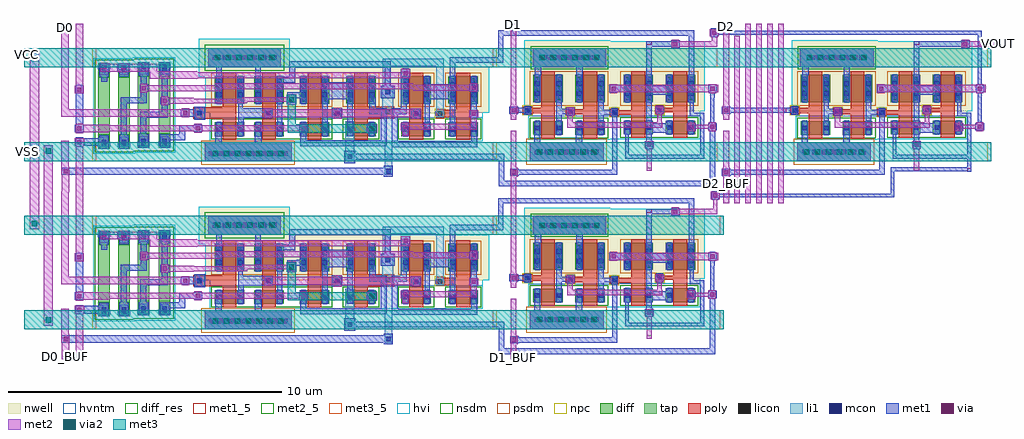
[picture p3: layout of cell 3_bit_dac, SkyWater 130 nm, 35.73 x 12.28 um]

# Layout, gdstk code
import gdstk
lib = gdstk.Library(unit=1e-6, precision=1e-09)
def R(c, l, rs):  # rectangles x0, y0, x1, y1
    for r in rs: c.add(gdstk.rectangle(r[:2], r[2:], *l))
def A(c, l, x, y, w, h, nx, ny, dx, dy):  # array of equal rectangles
    R(c, l, [(x+i*dx, y+j*dy, x+i*dx+w, y+j*dy+h) for i in range(nx) for j in range(ny)])
nwell = (64, 20)
diff_res = (65, 13)
diff = (65, 20)
tap = (65, 44)
poly = (66, 20)
licon = (66, 44)
li1 = (67, 20)
mcon = (67, 44)
met1_5 = (68, 5)
met1 = (68, 20)
via = (68, 44)
met2_5 = (69, 5)
met2 = (69, 20)
via2 = (69, 44)
met3_5 = (70, 5)
met3 = (70, 20)
hvi = (75, 20)
nsdm = (93, 44)
psdm = (94, 20)
npc = (95, 20)
hvntm = (125, 20)

switch_n_3v3 = lib.new_cell('switch_n_3v3')
R(switch_n_3v3, nwell, [(-31.91,-1.58,-25.31,0.98), (-31.91,0.98,-28.77,1.02)])
R(switch_n_3v3, diff, [(-31.58,-2.44,-30.5,-1.94), (-30.04,-2.44,-28.96,-1.94), (-28.28,-2.43,-27.2,-1.93), (-26.74,-2.43,-25.66,-1.93), (-31.58,-1.25,-30.5,-0.25), (-30.04,-1.25,-28.96,-0.25), (-28.28,-1.25,-27.2,-0.25), (-26.74,-1.25,-25.66,-0.25)])
R(switch_n_3v3, tap, [(-31.71,-3.42,-29.01,-2.72), (-31.56,0.08,-28.96,0.68)])
R(switch_n_3v3, poly, [(-31.29,-2.57,-30.79,-1.65), (-29.75,-2.57,-29.25,-1.695), (-27.99,-2.56,-27.49,-1.715), (-26.45,-2.56,-25.95,-1.615), (-28.78,-1.76,-28.45,-1.715), (-30.39,-1.73,-30.06,-1.695), (-28.78,-1.715,-27.49,-1.54), (-27.095,-1.7,-26.825,-1.615), (-30.39,-1.695,-29.25,-1.5), (-31.96,-1.685,-31.63,-1.65), (-31.96,-1.65,-30.79,-1.455), (-27.095,-1.615,-25.95,-1.46), (-28.78,-1.54,-28.45,-1.49), (-27.99,-1.54,-27.49,-0.12), (-30.39,-1.5,-30.06,-1.46), (-29.75,-1.5,-29.25,-0.12), (-27.095,-1.46,-26.825,-1.37), (-26.45,-1.46,-25.95,-0.12), (-31.96,-1.455,-31.63,-1.415), (-31.29,-1.455,-30.79,-0.12)])
A(switch_n_3v3, licon, -31.465, -3.155, 0.17, 0.17, 7, 1, 0.34, 0)
A(switch_n_3v3, licon, -31.52, -1.175, 0.17, 0.17, 1, 3, 0, 0.34)
A(switch_n_3v3, licon, -30.73, -1.175, 0.17, 0.17, 1, 3, 0, 0.34)
A(switch_n_3v3, licon, -29.98, -1.175, 0.17, 0.17, 1, 3, 0, 0.34)
A(switch_n_3v3, licon, -29.19, -1.175, 0.17, 0.17, 1, 3, 0, 0.34)
A(switch_n_3v3, licon, -28.22, -1.175, 0.17, 0.17, 1, 3, 0, 0.34)
A(switch_n_3v3, licon, -27.43, -1.175, 0.17, 0.17, 1, 3, 0, 0.34)
A(switch_n_3v3, licon, -26.68, -1.175, 0.17, 0.17, 1, 3, 0, 0.34)
A(switch_n_3v3, licon, -25.89, -1.175, 0.17, 0.17, 1, 3, 0, 0.34)
A(switch_n_3v3, licon, -31.365, 0.295, 0.17, 0.17, 7, 1, 0.34, 0)
R(switch_n_3v3, licon, [(-31.52,-2.275,-31.35,-2.105), (-30.73,-2.275,-30.56,-2.105), (-29.98,-2.275,-29.81,-2.105), (-29.19,-2.275,-29.02,-2.105), (-28.22,-2.265,-28.05,-2.095), (-27.43,-2.265,-27.26,-2.095), (-26.68,-2.265,-26.51,-2.095), (-25.89,-2.265,-25.72,-2.095), (-28.7,-1.71,-28.53,-1.54), (-30.31,-1.68,-30.14,-1.51), (-31.88,-1.635,-31.71,-1.465), (-27.045,-1.62,-26.875,-1.45)])
R(switch_n_3v3, li1, [(-31.71,-3.42,-29.01,-2.72), (-31.52,-2.46,-31.35,-1.92), (-30.73,-2.46,-30.56,-1.92), (-29.98,-2.46,-29.81,-1.92), (-29.19,-2.46,-29.02,-1.92), (-28.22,-2.45,-28.05,-1.91), (-27.43,-2.45,-27.26,-1.91), (-26.68,-2.45,-26.51,-1.91), (-25.89,-2.45,-25.72,-1.91), (-28.7,-1.79,-28.53,-1.71), (-30.31,-1.76,-30.14,-1.69), (-31.88,-1.715,-31.71,-1.645), (-28.7,-1.71,-28.525,-1.535), (-30.32,-1.69,-30.125,-1.495), (-31.89,-1.645,-31.695,-1.45), (-27.125,-1.62,-26.795,-1.45), (-28.7,-1.535,-28.53,-1.46), (-30.31,-1.495,-30.14,-1.43), (-31.88,-1.45,-31.71,-1.385), (-31.52,-1.27,-31.35,-0.23), (-30.73,-1.27,-30.56,-0.23), (-29.98,-1.27,-29.81,-0.23), (-29.19,-1.27,-29.02,-0.23), (-28.22,-1.27,-28.05,-0.23), (-27.43,-1.27,-27.26,-0.23), (-26.68,-1.27,-26.51,-0.23), (-25.89,-1.27,-25.72,-0.23), (-31.61,0.03,-28.91,0.73)])
A(switch_n_3v3, mcon, -31.525, -3.155, 0.17, 0.17, 7, 1, 0.36, 0)
A(switch_n_3v3, mcon, -31.245, 0.295, 0.17, 0.17, 6, 1, 0.36, 0)
R(switch_n_3v3, mcon, [(-31.52,-2.275,-31.35,-2.105), (-30.73,-2.275,-30.56,-2.105), (-29.98,-2.275,-29.81,-2.105), (-29.19,-2.275,-29.02,-2.105), (-28.22,-2.265,-28.05,-2.095), (-27.43,-2.265,-27.26,-2.095), (-26.68,-2.265,-26.51,-2.095), (-25.89,-2.265,-25.72,-2.095), (-28.7,-1.71,-28.53,-1.54), (-30.31,-1.68,-30.14,-1.51), (-31.88,-1.635,-31.71,-1.465), (-27.045,-1.62,-26.875,-1.45), (-31.52,-1.015,-31.35,-0.845), (-30.73,-1.015,-30.56,-0.845), (-29.98,-1.015,-29.81,-0.845), (-29.19,-1.015,-29.02,-0.845), (-28.22,-1.015,-28.05,-0.845), (-27.43,-1.015,-27.26,-0.845), (-26.68,-1.015,-26.51,-0.845), (-25.89,-1.015,-25.72,-0.845), (-31.52,-0.655,-31.35,-0.485), (-30.73,-0.655,-30.56,-0.485), (-29.98,-0.655,-29.81,-0.485), (-29.19,-0.655,-29.02,-0.485), (-28.22,-0.655,-28.05,-0.485), (-27.43,-0.655,-27.26,-0.485), (-26.68,-0.655,-26.51,-0.485), (-25.89,-0.655,-25.72,-0.485)])
R(switch_n_3v3, met1_5, [(-32.355,-3.915,-32.215,-3.72), (-25.48,-3.79,-25.34,-3.67), (-32.21,-1.645,-32.11,-1.45), (-25.095,0.83,-24.945,0.93), (-27.44,0.85,-27.245,0.975)])
R(switch_n_3v3, met1, [(-32.355,-3.915,-28.505,-3.72), (-25.48,-3.79,-25.34,-3.32), (-28.7,-3.72,-28.505,-1.77), (-31.71,-3.42,-29.01,-2.72), (-28.22,-3.32,-25.34,-3.18), (-28.22,-3.18,-28.08,-2.43), (-25.48,-3.18,-25.34,-1.77), (-27.47,-2.975,-27.21,-2.655), (-31.55,-2.72,-31.33,-2.44), (-30.02,-2.72,-29.785,-2.44), (-27.44,-2.655,-27.245,-2.43), (-31.55,-2.44,-31.32,-1.94), (-30.76,-2.44,-30.53,-1.94), (-30.02,-2.44,-29.78,-2.25), (-29.22,-2.44,-28.99,-1.94), (-28.25,-2.43,-28.02,-1.93), (-27.46,-2.43,-27.23,-2.36), (-26.71,-2.43,-26.48,-2.36), (-25.92,-2.43,-25.69,-2.29), (-27.46,-2.36,-26.48,-2.03), (-25.95,-2.29,-25.63,-2.03), (-25.185,-2.28,-24.865,-2.02), (-30.01,-2.25,-29.78,-1.94), (-27.46,-2.03,-27.23,-1.93), (-26.71,-2.03,-26.48,-1.93), (-25.92,-2.03,-25.69,-1.93), (-25.1,-2.02,-24.95,-1.095), (-30.745,-1.94,-30.55,-1.69), (-29.2,-1.94,-29.005,-1.705), (-27.44,-1.93,-27.245,-1.25), (-28.73,-1.77,-28.495,-1.705), (-25.855,-1.77,-25.34,-1.63), (-30.35,-1.75,-30.095,-1.72), (-30.38,-1.72,-30.06,-1.69), (-31.92,-1.705,-31.665,-1.645), (-29.2,-1.705,-28.495,-1.53), (-27.09,-1.695,-26.83,-1.65), (-30.745,-1.69,-30.06,-1.495), (-27.105,-1.65,-26.815,-1.42), (-32.21,-1.645,-31.665,-1.45), (-25.855,-1.63,-25.71,-1.25), (-29.2,-1.53,-29.005,-1.25), (-28.73,-1.53,-28.495,-1.475), (-30.745,-1.495,-30.55,-1.25), (-30.38,-1.495,-30.06,-1.46), (-30.35,-1.46,-30.095,-1.435), (-31.92,-1.45,-31.665,-1.39), (-27.09,-1.42,-26.83,-1.375), (-31.55,-1.25,-31.32,-0.255), (-30.76,-1.25,-30.53,-0.25), (-30.01,-1.25,-29.78,0.03), (-29.22,-1.25,-28.99,-0.25), (-28.25,-1.25,-28.02,-0.89), (-27.46,-1.25,-27.23,-0.98), (-26.71,-1.25,-26.48,-0.98), (-25.92,-1.25,-25.69,-0.25), (-25.1,-1.095,-24.945,-0.89), (-27.46,-0.98,-26.48,-0.65), (-28.805,-0.89,-28.02,-0.615), (-25.18,-0.89,-24.86,-0.63), (-27.46,-0.65,-27.23,-0.25), (-26.71,-0.65,-26.48,-0.25), (-25.095,-0.63,-24.945,0.955), (-28.25,-0.615,-28.02,-0.25), (-31.55,-0.255,-31.295,-0.25), (-31.525,-0.25,-31.295,0.03), (-27.44,-0.25,-27.245,0.975), (-31.61,0.03,-28.91,0.73)])
A(switch_n_3v3, via, -31.395, -3.145, 0.15, 0.15, 7, 1, 0.32, 0)
A(switch_n_3v3, via, -31.295, 0.305, 0.15, 0.15, 7, 1, 0.32, 0)
R(switch_n_3v3, via, [(-27.415,-2.89,-27.265,-2.74), (-25.865,-2.235,-25.715,-2.085), (-25.1,-2.225,-24.95,-2.075), (-30.295,-1.665,-30.145,-1.515), (-27.035,-1.61,-26.885,-1.46), (-25.095,-0.835,-24.945,-0.685), (-28.715,-0.83,-28.565,-0.68)])
R(switch_n_3v3, met2_5, [(-27.435,-3.765,-27.24,-3.645)])
A(switch_n_3v3, met2, -34.41, -4.955, 0.205, 2.655, 6, 1, 0.4, 0)
A(switch_n_3v3, met2, -34.41, -1.9, 0.205, 3.085, 6, 1, 0.4, 0)
R(switch_n_3v3, met2, [(-27.435,-3.765,-27.24,-2.945), (-31.71,-3.42,-29.01,-2.72), (-27.5,-2.945,-27.18,-2.685), (-25.92,-2.32,-25.66,-2.23), (-25.155,-2.31,-24.895,-2.23), (-25.92,-2.23,-24.895,-2.085), (-30.335,-2.18,-26.865,-1.985), (-25.92,-2.085,-25.66,-2), (-25.155,-2.085,-24.895,-1.99), (-30.335,-1.985,-30.14,-1.75), (-27.045,-1.985,-26.875,-1.665), (-30.35,-1.75,-30.09,-1.705), (-30.355,-1.705,-30.09,-1.49), (-27.12,-1.665,-26.8,-1.405), (-30.35,-1.49,-30.09,-1.43), (-28.775,-0.92,-28.5,-0.89), (-25.15,-0.92,-24.89,-0.89), (-28.775,-0.89,-24.81,-0.615), (-28.775,-0.615,-28.5,-0.585), (-25.15,-0.615,-24.89,-0.6), (-31.61,0.03,-28.91,0.73)])
A(switch_n_3v3, via2, -31.46, -3.17, 0.2, 0.2, 6, 1, 0.4, 0)
A(switch_n_3v3, via2, -31.36, 0.28, 0.2, 0.2, 6, 1, 0.4, 0)
R(switch_n_3v3, met3_5, [(-34.66,-3.42,-34.51,-2.72), (-24.76,-3.42,-24.61,-2.72), (-34.66,0.03,-34.51,0.73), (-24.76,0.03,-24.61,0.73)])
R(switch_n_3v3, met3, [(-34.66,-3.42,-24.61,-2.72), (-34.66,0.03,-24.61,0.73)])
R(switch_n_3v3, hvi, [(-31.765,-2.625,-28.775,-2.615), (-31.765,-2.615,-25.475,-1.58), (-31.91,-1.58,-25.31,0.98), (-31.91,0.98,-28.77,1.02)])
R(switch_n_3v3, nsdm, [(-31.705,-2.565,-28.835,-1.815), (-28.405,-2.555,-25.535,-1.805), (-31.685,-0.045,-28.835,0.805)])
R(switch_n_3v3, psdm, [(-31.835,-3.545,-28.885,-2.595), (-31.705,-1.375,-28.835,-0.125), (-28.405,-1.375,-25.535,-0.125)])
R(switch_n_3v3, npc, [(-28.8,-1.81,-28.43,-1.44), (-30.41,-1.78,-30.04,-1.41), (-31.98,-1.735,-31.61,-1.365), (-27.145,-1.72,-26.775,-1.35)])
R(switch_n_3v3, hvntm, [(-31.765,-2.625,-28.775,-2.615), (-31.765,-2.615,-25.475,-1.755), (-28.465,-1.755,-25.475,-1.745)])
switch_n_3v3.add(gdstk.Label('DX', (-32.16,-1.547), layer=68, texttype=5))
switch_n_3v3.add(gdstk.Label('DX_BUF', (-32.285,-3.817), layer=68, texttype=5))
switch_n_3v3.add(gdstk.Label('VCC', (-24.685,0.38), layer=70, texttype=5))
switch_n_3v3.add(gdstk.Label('VSS', (-24.685,-3.07), layer=70, texttype=5))
switch_n_3v3.add(gdstk.Label('VSS', (-34.585,-3.07), layer=70, texttype=5))
switch_n_3v3.add(gdstk.Label('VCC', (-34.585,0.38), layer=70, texttype=5))
switch_n_3v3.add(gdstk.Label('D2', (-34.31,1.11), layer=69, texttype=5))
switch_n_3v3.add(gdstk.Label('D3', (-33.91,1.13), layer=69, texttype=5))
switch_n_3v3.add(gdstk.Label('D4', (-33.5,1.13), layer=69, texttype=5))
switch_n_3v3.add(gdstk.Label('D5', (-33.1,1.14), layer=69, texttype=5))
switch_n_3v3.add(gdstk.Label('D6', (-32.71,1.14), layer=69, texttype=5))
switch_n_3v3.add(gdstk.Label('D7', (-32.31,1.13), layer=69, texttype=5))
switch_n_3v3.add(gdstk.Label('VOUT', (-27.342,0.912), layer=68, texttype=5))
switch_n_3v3.add(gdstk.Label('VOUT', (-27.337,-3.705), layer=69, texttype=5))
switch_n_3v3.add(gdstk.Label('DX_', (-30.66,-1.77), layer=68, texttype=5))
switch_n_3v3.add(gdstk.Label('VREFH', (-25.41,-3.73), layer=68, texttype=5))
switch_n_3v3.add(gdstk.Label('VREFL', (-25.02,0.88), layer=68, texttype=5))

switch_n_3v3_v2 = lib.new_cell('switch_n_3v3_v2')
R(switch_n_3v3_v2, nwell, [(-31.91,-1.58,-25.31,0.98), (-31.91,0.98,-28.77,1.02)])
R(switch_n_3v3_v2, diff, [(-31.58,-2.44,-30.5,-1.94), (-30.04,-2.44,-28.96,-1.94), (-28.28,-2.43,-27.2,-1.93), (-26.74,-2.43,-25.66,-1.93), (-31.58,-1.25,-30.5,-0.25), (-30.04,-1.25,-28.96,-0.25), (-28.28,-1.25,-27.2,-0.25), (-26.74,-1.25,-25.66,-0.25)])
R(switch_n_3v3_v2, tap, [(-31.71,-3.42,-29.01,-2.72), (-31.56,0.08,-28.96,0.68)])
R(switch_n_3v3_v2, poly, [(-31.29,-2.57,-30.79,-1.65), (-29.75,-2.57,-29.25,-1.695), (-27.99,-2.56,-27.49,-1.715), (-26.45,-2.56,-25.95,-1.615), (-28.78,-1.76,-28.45,-1.715), (-30.39,-1.73,-30.06,-1.695), (-28.78,-1.715,-27.49,-1.54), (-27.095,-1.7,-26.825,-1.615), (-30.39,-1.695,-29.25,-1.5), (-31.96,-1.685,-31.63,-1.65), (-31.96,-1.65,-30.79,-1.455), (-27.095,-1.615,-25.95,-1.46), (-28.78,-1.54,-28.45,-1.49), (-27.99,-1.54,-27.49,-0.12), (-30.39,-1.5,-30.06,-1.46), (-29.75,-1.5,-29.25,-0.12), (-27.095,-1.46,-26.825,-1.37), (-26.45,-1.46,-25.95,-0.12), (-31.96,-1.455,-31.63,-1.415), (-31.29,-1.455,-30.79,-0.12)])
A(switch_n_3v3_v2, licon, -31.465, -3.155, 0.17, 0.17, 7, 1, 0.34, 0)
A(switch_n_3v3_v2, licon, -31.52, -1.175, 0.17, 0.17, 1, 3, 0, 0.34)
A(switch_n_3v3_v2, licon, -30.73, -1.175, 0.17, 0.17, 1, 3, 0, 0.34)
A(switch_n_3v3_v2, licon, -29.98, -1.175, 0.17, 0.17, 1, 3, 0, 0.34)
A(switch_n_3v3_v2, licon, -29.19, -1.175, 0.17, 0.17, 1, 3, 0, 0.34)
A(switch_n_3v3_v2, licon, -28.22, -1.175, 0.17, 0.17, 1, 3, 0, 0.34)
A(switch_n_3v3_v2, licon, -27.43, -1.175, 0.17, 0.17, 1, 3, 0, 0.34)
A(switch_n_3v3_v2, licon, -26.68, -1.175, 0.17, 0.17, 1, 3, 0, 0.34)
A(switch_n_3v3_v2, licon, -25.89, -1.175, 0.17, 0.17, 1, 3, 0, 0.34)
A(switch_n_3v3_v2, licon, -31.365, 0.295, 0.17, 0.17, 7, 1, 0.34, 0)
R(switch_n_3v3_v2, licon, [(-31.52,-2.275,-31.35,-2.105), (-30.73,-2.275,-30.56,-2.105), (-29.98,-2.275,-29.81,-2.105), (-29.19,-2.275,-29.02,-2.105), (-28.22,-2.265,-28.05,-2.095), (-27.43,-2.265,-27.26,-2.095), (-26.68,-2.265,-26.51,-2.095), (-25.89,-2.265,-25.72,-2.095), (-28.7,-1.71,-28.53,-1.54), (-30.31,-1.68,-30.14,-1.51), (-31.88,-1.635,-31.71,-1.465), (-27.045,-1.62,-26.875,-1.45)])
R(switch_n_3v3_v2, li1, [(-31.71,-3.42,-29.01,-2.72), (-31.52,-2.46,-31.35,-1.92), (-30.73,-2.46,-30.56,-1.92), (-29.98,-2.46,-29.81,-1.92), (-29.19,-2.46,-29.02,-1.92), (-28.22,-2.45,-28.05,-1.91), (-27.43,-2.45,-27.26,-1.91), (-26.68,-2.45,-26.51,-1.91), (-25.89,-2.45,-25.72,-1.91), (-28.7,-1.79,-28.53,-1.71), (-30.31,-1.76,-30.14,-1.69), (-31.88,-1.715,-31.71,-1.645), (-28.7,-1.71,-28.525,-1.535), (-30.32,-1.69,-30.125,-1.495), (-31.89,-1.645,-31.695,-1.45), (-27.125,-1.62,-26.795,-1.45), (-28.7,-1.535,-28.53,-1.46), (-30.31,-1.495,-30.14,-1.43), (-31.88,-1.45,-31.71,-1.385), (-31.52,-1.27,-31.35,-0.23), (-30.73,-1.27,-30.56,-0.23), (-29.98,-1.27,-29.81,-0.23), (-29.19,-1.27,-29.02,-0.23), (-28.22,-1.27,-28.05,-0.23), (-27.43,-1.27,-27.26,-0.23), (-26.68,-1.27,-26.51,-0.23), (-25.89,-1.27,-25.72,-0.23), (-31.61,0.03,-28.91,0.73)])
A(switch_n_3v3_v2, mcon, -31.525, -3.155, 0.17, 0.17, 7, 1, 0.36, 0)
A(switch_n_3v3_v2, mcon, -31.245, 0.295, 0.17, 0.17, 6, 1, 0.36, 0)
R(switch_n_3v3_v2, mcon, [(-31.52,-2.275,-31.35,-2.105), (-30.73,-2.275,-30.56,-2.105), (-29.98,-2.275,-29.81,-2.105), (-29.19,-2.275,-29.02,-2.105), (-28.22,-2.265,-28.05,-2.095), (-27.43,-2.265,-27.26,-2.095), (-26.68,-2.265,-26.51,-2.095), (-25.89,-2.265,-25.72,-2.095), (-28.7,-1.71,-28.53,-1.54), (-30.31,-1.68,-30.14,-1.51), (-31.88,-1.635,-31.71,-1.465), (-27.045,-1.62,-26.875,-1.45), (-31.52,-1.015,-31.35,-0.845), (-30.73,-1.015,-30.56,-0.845), (-29.98,-1.015,-29.81,-0.845), (-29.19,-1.015,-29.02,-0.845), (-28.22,-1.015,-28.05,-0.845), (-27.43,-1.015,-27.26,-0.845), (-26.68,-1.015,-26.51,-0.845), (-25.89,-1.015,-25.72,-0.845), (-31.52,-0.655,-31.35,-0.485), (-30.73,-0.655,-30.56,-0.485), (-29.98,-0.655,-29.81,-0.485), (-29.19,-0.655,-29.02,-0.485), (-28.22,-0.655,-28.05,-0.485), (-27.43,-0.655,-27.26,-0.485), (-26.68,-0.655,-26.51,-0.485), (-25.89,-0.655,-25.72,-0.485)])
R(switch_n_3v3_v2, met1_5, [(-32.355,-3.915,-32.215,-3.72), (-32.21,-1.645,-32.11,-1.45), (-27.44,0.85,-27.245,0.975)])
R(switch_n_3v3_v2, met1, [(-32.435,-3.945,-32.115,-3.915), (-32.435,-3.915,-28.505,-3.72), (-25.1,-3.875,-24.95,-2.28), (-32.435,-3.72,-32.115,-3.685), (-28.7,-3.72,-28.505,-1.77), (-31.71,-3.42,-29.01,-2.72), (-28.22,-3.32,-25.33,-3.18), (-28.22,-3.18,-28.08,-2.43), (-25.47,-3.18,-25.33,-1.77), (-27.47,-2.975,-27.21,-2.655), (-31.55,-2.72,-31.33,-2.44), (-30.02,-2.72,-29.785,-2.44), (-27.44,-2.655,-27.245,-2.43), (-31.55,-2.44,-31.32,-1.94), (-30.76,-2.44,-30.53,-1.94), (-30.02,-2.44,-29.78,-2.25), (-29.22,-2.44,-28.99,-1.94), (-28.25,-2.43,-28.02,-1.93), (-27.46,-2.43,-27.23,-2.36), (-26.71,-2.43,-26.48,-2.36), (-25.92,-2.43,-25.69,-2.29), (-27.46,-2.36,-26.48,-2.03), (-25.95,-2.29,-25.63,-2.03), (-25.185,-2.28,-24.865,-2.02), (-30.01,-2.25,-29.78,-1.94), (-27.46,-2.03,-27.23,-1.93), (-26.71,-2.03,-26.48,-1.93), (-25.92,-2.03,-25.69,-1.93), (-25.1,-2.02,-24.95,-1.095), (-30.745,-1.94,-30.55,-1.69), (-29.2,-1.94,-29.005,-1.705), (-27.44,-1.93,-27.245,-1.25), (-28.73,-1.77,-28.495,-1.705), (-25.855,-1.77,-25.33,-1.63), (-30.35,-1.75,-30.095,-1.72), (-30.38,-1.72,-30.06,-1.69), (-31.92,-1.705,-31.665,-1.645), (-29.2,-1.705,-28.495,-1.53), (-27.09,-1.695,-26.83,-1.65), (-30.745,-1.69,-30.06,-1.495), (-32.455,-1.675,-32.135,-1.645), (-27.105,-1.65,-26.815,-1.42), (-32.455,-1.645,-31.665,-1.45), (-25.855,-1.63,-25.71,-1.25), (-29.2,-1.53,-29.005,-1.25), (-28.73,-1.53,-28.495,-1.475), (-30.745,-1.495,-30.55,-1.25), (-30.38,-1.495,-30.06,-1.46), (-30.35,-1.46,-30.095,-1.435), (-32.455,-1.45,-32.135,-1.415), (-31.92,-1.45,-31.665,-1.39), (-27.09,-1.42,-26.83,-1.375), (-31.55,-1.25,-31.32,-0.255), (-30.76,-1.25,-30.53,-0.25), (-30.01,-1.25,-29.78,0.03), (-29.22,-1.25,-28.99,-0.25), (-28.25,-1.25,-28.02,-0.89), (-27.46,-1.25,-27.23,-0.98), (-26.71,-1.25,-26.48,-0.98), (-25.92,-1.25,-25.69,-0.25), (-25.1,-1.095,-24.945,-0.89), (-27.46,-0.98,-26.48,-0.65), (-28.805,-0.89,-28.02,-0.615), (-25.18,-0.89,-24.86,-0.63), (-27.46,-0.65,-27.23,-0.25), (-26.71,-0.65,-26.48,-0.25), (-25.095,-0.63,-24.945,-0.585), (-28.25,-0.615,-28.02,-0.25), (-31.55,-0.255,-31.295,-0.25), (-31.525,-0.25,-31.295,0.03), (-27.44,-0.25,-27.245,0.975), (-25.855,-0.25,-25.71,1.035), (-31.61,0.03,-28.91,0.73)])
A(switch_n_3v3_v2, via, -31.395, -3.145, 0.15, 0.15, 7, 1, 0.32, 0)
A(switch_n_3v3_v2, via, -31.295, 0.305, 0.15, 0.15, 7, 1, 0.32, 0)
R(switch_n_3v3_v2, via, [(-32.35,-3.89,-32.2,-3.74), (-27.415,-2.89,-27.265,-2.74), (-25.865,-2.235,-25.715,-2.085), (-25.1,-2.225,-24.95,-2.075), (-30.295,-1.665,-30.145,-1.515), (-32.37,-1.62,-32.22,-1.47), (-27.035,-1.61,-26.885,-1.46), (-25.095,-0.835,-24.945,-0.685), (-28.715,-0.83,-28.565,-0.68)])
R(switch_n_3v3_v2, met2_5, [(-27.435,-3.765,-27.24,-3.645)])
R(switch_n_3v3_v2, met2, [(-32.41,-4.3,-32.205,-3.975), (-32.41,-3.975,-32.145,-3.655), (-27.435,-3.765,-27.24,-2.945), (-32.41,-3.655,-32.205,-2.3), (-31.71,-3.42,-29.01,-2.72), (-27.5,-2.945,-27.18,-2.685), (-25.92,-2.32,-25.66,-2.23), (-25.155,-2.31,-24.895,-2.23), (-25.92,-2.23,-24.895,-2.085), (-30.335,-2.18,-26.865,-1.985), (-25.92,-2.085,-25.66,-2), (-25.155,-2.085,-24.895,-1.99), (-30.335,-1.985,-30.14,-1.75), (-27.045,-1.985,-26.875,-1.665), (-32.41,-1.9,-32.205,-1.705), (-30.35,-1.75,-30.09,-1.705), (-32.425,-1.705,-32.165,-1.385), (-30.355,-1.705,-30.09,-1.49), (-27.12,-1.665,-26.8,-1.405), (-30.35,-1.49,-30.09,-1.43), (-32.41,-1.385,-32.205,1.185), (-28.775,-0.92,-28.5,-0.89), (-25.15,-0.92,-24.89,-0.89), (-28.775,-0.89,-24.81,-0.615), (-28.775,-0.615,-28.5,-0.585), (-25.15,-0.615,-24.89,-0.6), (-31.61,0.03,-28.91,0.73)])
A(switch_n_3v3_v2, via2, -31.46, -3.17, 0.2, 0.2, 6, 1, 0.4, 0)
A(switch_n_3v3_v2, via2, -31.36, 0.28, 0.2, 0.2, 6, 1, 0.4, 0)
R(switch_n_3v3_v2, met3_5, [(-33.07,-3.42,-32.92,-2.72), (-24.76,-3.42,-24.61,-2.72), (-33.07,0.03,-32.92,0.73), (-24.76,0.03,-24.61,0.73)])
R(switch_n_3v3_v2, met3, [(-33.07,-3.42,-24.61,-2.72), (-33.07,0.03,-24.61,0.73)])
R(switch_n_3v3_v2, hvi, [(-31.765,-2.625,-28.775,-2.615), (-31.765,-2.615,-25.475,-1.58), (-31.91,-1.58,-25.31,0.98), (-31.91,0.98,-28.77,1.02)])
R(switch_n_3v3_v2, nsdm, [(-31.705,-2.565,-28.835,-1.815), (-28.405,-2.555,-25.535,-1.805), (-31.685,-0.045,-28.835,0.805)])
R(switch_n_3v3_v2, psdm, [(-31.835,-3.545,-28.885,-2.595), (-31.705,-1.375,-28.835,-0.125), (-28.405,-1.375,-25.535,-0.125)])
R(switch_n_3v3_v2, npc, [(-28.8,-1.81,-28.43,-1.44), (-30.41,-1.78,-30.04,-1.41), (-31.98,-1.735,-31.61,-1.365), (-27.145,-1.72,-26.775,-1.35)])
R(switch_n_3v3_v2, hvntm, [(-31.765,-2.625,-28.775,-2.615), (-31.765,-2.615,-25.475,-1.755), (-28.465,-1.755,-25.475,-1.745)])
switch_n_3v3_v2.add(gdstk.Label('DX', (-32.16,-1.547), layer=68, texttype=5))
switch_n_3v3_v2.add(gdstk.Label('DX_BUF', (-32.285,-3.817), layer=68, texttype=5))
switch_n_3v3_v2.add(gdstk.Label('VCC', (-24.685,0.38), layer=70, texttype=5))
switch_n_3v3_v2.add(gdstk.Label('VSS', (-24.685,-3.07), layer=70, texttype=5))
switch_n_3v3_v2.add(gdstk.Label('VOUT', (-27.342,0.912), layer=68, texttype=5))
switch_n_3v3_v2.add(gdstk.Label('VOUT', (-27.337,-3.705), layer=69, texttype=5))
switch_n_3v3_v2.add(gdstk.Label('DX_', (-30.66,-1.77), layer=68, texttype=5))
switch_n_3v3_v2.add(gdstk.Label('VSS', (-32.995,-3.07), layer=70, texttype=5))
switch_n_3v3_v2.add(gdstk.Label('VCC', (-32.995,0.38), layer=70, texttype=5))
switch_n_3v3_v2.add(gdstk.Label('VREFH', (-25.79,1.015), layer=68, texttype=5))
switch_n_3v3_v2.add(gdstk.Label('VREFL', (-25.025,-3.815), layer=68, texttype=5))

switch2n_3v3 = lib.new_cell('switch2n_3v3')
R(switch2n_3v3, nwell, [(-26.24,-1.65,-24.67,-1.63), (-33.76,-1.63,-23.36,-0.32), (-34,-0.32,-23.36,0.04), (-34,0.04,-30.67,1.07)])
R(switch2n_3v3, diff_res, [(-37.68,-2.435,-37.26,-0.335), (-36.95,-2.435,-36.53,-0.335), (-36.23,-2.405,-35.81,-0.305), (-35.46,-2.405,-35.04,-0.305)])
R(switch2n_3v3, diff, [(-37.68,-2.95,-37.26,0.18), (-36.95,-2.95,-36.53,0.18), (-36.23,-2.92,-35.81,0.21), (-35.46,-2.92,-35.04,0.21), (-33.41,-2.49,-32.33,-1.99), (-31.97,-2.49,-30.89,-1.99), (-30.31,-2.49,-29.23,-1.99), (-28.6,-2.49,-27.52,-1.99), (-26.58,-2.49,-25.5,-1.99), (-24.86,-2.49,-23.78,-1.99), (-33.41,-1.3,-32.33,-0.3), (-31.97,-1.3,-30.89,-0.3), (-30.31,-1.3,-29.23,-0.3), (-28.6,-1.3,-27.52,-0.3), (-26.58,-1.3,-25.5,-0.3), (-24.86,-1.3,-23.78,-0.3)])
R(switch2n_3v3, tap, [(-33.78,-3.42,-30.605,-2.78), (-33.66,0.03,-31,0.73)])
R(switch2n_3v3, poly, [(-33.12,-2.62,-32.62,-1.855), (-31.68,-2.62,-31.18,-0.17), (-30.02,-2.62,-29.52,-1.805), (-28.31,-2.62,-27.81,-1.865), (-26.29,-2.62,-25.79,-0.17), (-24.57,-2.62,-24.07,-1.805), (-28.31,-1.865,-26.84,-1.41), (-34.205,-1.855,-32.62,-1.44), (-25.305,-1.835,-25.035,-1.805), (-30.02,-1.805,-28.775,-1.515), (-25.305,-1.805,-24.07,-1.535), (-25.305,-1.535,-25.035,-1.505), (-24.57,-1.535,-24.07,-0.17), (-30.02,-1.515,-29.52,-0.17), (-33.12,-1.44,-32.62,-0.17), (-28.31,-1.41,-27.81,-0.17), (-27.295,-1.41,-26.865,-1.405)])
A(switch2n_3v3, licon, -33.635, -3.21, 0.17, 0.17, 9, 1, 0.34, 0)
A(switch2n_3v3, licon, -33.35, -1.225, 0.17, 0.17, 1, 3, 0, 0.34)
A(switch2n_3v3, licon, -32.56, -1.225, 0.17, 0.17, 1, 3, 0, 0.34)
A(switch2n_3v3, licon, -31.91, -1.225, 0.17, 0.17, 1, 3, 0, 0.34)
A(switch2n_3v3, licon, -31.12, -1.225, 0.17, 0.17, 1, 3, 0, 0.34)
A(switch2n_3v3, licon, -30.25, -1.225, 0.17, 0.17, 1, 3, 0, 0.34)
A(switch2n_3v3, licon, -29.46, -1.225, 0.17, 0.17, 1, 3, 0, 0.34)
A(switch2n_3v3, licon, -28.54, -1.225, 0.17, 0.17, 1, 3, 0, 0.34)
A(switch2n_3v3, licon, -27.75, -1.225, 0.17, 0.17, 1, 3, 0, 0.34)
A(switch2n_3v3, licon, -26.52, -1.225, 0.17, 0.17, 1, 3, 0, 0.34)
A(switch2n_3v3, licon, -25.73, -1.225, 0.17, 0.17, 1, 3, 0, 0.34)
A(switch2n_3v3, licon, -24.8, -1.225, 0.17, 0.17, 1, 3, 0, 0.34)
A(switch2n_3v3, licon, -24.01, -1.225, 0.17, 0.17, 1, 3, 0, 0.34)
A(switch2n_3v3, licon, -33.425, 0.3, 0.17, 0.17, 7, 1, 0.34, 0)
R(switch2n_3v3, licon, [(-37.555,-2.89,-37.385,-2.72), (-36.825,-2.89,-36.655,-2.72), (-36.105,-2.86,-35.935,-2.69), (-35.335,-2.86,-35.165,-2.69), (-33.35,-2.325,-33.18,-2.155), (-32.56,-2.325,-32.39,-2.155), (-31.91,-2.325,-31.74,-2.155), (-31.12,-2.325,-30.95,-2.155), (-30.25,-2.325,-30.08,-2.155), (-29.46,-2.325,-29.29,-2.155), (-28.54,-2.325,-28.37,-2.155), (-27.75,-2.325,-27.58,-2.155), (-26.52,-2.325,-26.35,-2.155), (-25.73,-2.325,-25.56,-2.155), (-24.8,-2.325,-24.63,-2.155), (-24.01,-2.325,-23.84,-2.155), (-26.115,-1.755,-25.945,-1.585), (-25.255,-1.755,-25.085,-1.585), (-29.035,-1.745,-28.865,-1.575), (-34.055,-1.735,-33.885,-1.565), (-31.535,-1.735,-31.365,-1.565), (-27.165,-1.695,-26.995,-1.525), (-37.555,-0.05,-37.385,0.12), (-36.825,-0.05,-36.655,0.12), (-36.105,-0.02,-35.935,0.15), (-35.335,-0.02,-35.165,0.15)])
R(switch2n_3v3, li1, [(-33.78,-3.42,-30.6,-2.72), (-28.64,-3.42,-28.3,-1.94), (-37.7,-2.89,-37.24,-2.72), (-36.97,-2.89,-36.51,-2.72), (-36.25,-2.86,-35.79,-2.69), (-35.48,-2.86,-35.02,-2.69), (-37.62,-2.72,-37.32,-2.52), (-36.89,-2.72,-36.59,-2.52), (-36.17,-2.69,-35.87,-2.49), (-35.4,-2.69,-35.1,-2.49), (-33.35,-2.51,-33.18,-1.97), (-32.56,-2.51,-32.39,-1.97), (-31.91,-2.51,-31.74,-1.97), (-31.12,-2.51,-30.95,-1.97), (-30.25,-2.51,-30.08,-1.97), (-29.46,-2.51,-29.29,-1.97), (-27.75,-2.51,-27.58,-1.97), (-26.52,-2.51,-26.35,-1.97), (-25.73,-2.51,-25.56,-1.97), (-24.8,-2.51,-24.63,-1.97), (-24.01,-2.51,-23.84,-1.97), (-34.125,-1.885,-33.81,-1.825), (-29.045,-1.835,-28.855,-1.805), (-26.115,-1.835,-25.945,-1.79), (-34.145,-1.825,-33.79,-1.47), (-31.535,-1.815,-31.365,-1.77), (-29.095,-1.805,-28.805,-1.515), (-25.305,-1.805,-25.035,-1.755), (-27.275,-1.8,-26.885,-1.73), (-26.15,-1.79,-25.91,-1.55), (-31.57,-1.77,-31.33,-1.53), (-25.335,-1.755,-25.005,-1.585), (-27.325,-1.73,-26.835,-1.485), (-25.305,-1.585,-25.035,0.065), (-26.115,-1.55,-25.945,-1.505), (-31.535,-1.53,-31.365,-1.485), (-29.045,-1.515,-28.855,-1.485), (-27.275,-1.485,-26.885,-0.685), (-34.125,-1.47,-33.81,-1.41), (-33.35,-1.32,-33.18,-0.28), (-32.56,-1.32,-32.39,-0.28), (-31.91,-1.32,-31.74,-0.28), (-31.12,-1.32,-30.95,-0.28), (-30.25,-1.32,-30.08,-0.28), (-29.46,-1.32,-29.29,-0.28), (-28.54,-1.32,-28.37,-0.28), (-27.75,-1.32,-27.58,-0.28), (-26.52,-1.32,-26.35,-0.28), (-25.73,-1.32,-25.56,-0.28), (-24.8,-1.32,-24.63,-0.28), (-24.01,-1.32,-23.84,-0.28), (-27.265,-0.685,-26.995,0.065), (-37.62,-0.25,-37.32,-0.05), (-36.89,-0.25,-36.59,-0.05), (-36.17,-0.22,-35.87,-0.02), (-35.4,-0.22,-35.1,-0.02), (-37.7,-0.05,-37.24,0.12), (-36.97,-0.05,-36.51,0.12), (-36.25,-0.02,-35.79,0.15), (-35.48,-0.02,-35.02,0.15), (-33.66,0.03,-31,0.73), (-27.265,0.065,-25.035,0.335)])
A(switch2n_3v3, mcon, -33.535, -3.21, 0.17, 0.17, 8, 1, 0.36, 0)
A(switch2n_3v3, mcon, -33.485, 0.3, 0.17, 0.17, 7, 1, 0.36, 0)
R(switch2n_3v3, mcon, [(-28.555,-3.335,-28.385,-3.165), (-37.555,-2.79,-37.385,-2.62), (-36.825,-2.79,-36.655,-2.62), (-36.105,-2.76,-35.935,-2.59), (-35.335,-2.76,-35.165,-2.59), (-33.35,-2.325,-33.18,-2.155), (-32.56,-2.325,-32.39,-2.155), (-31.91,-2.325,-31.74,-2.155), (-31.12,-2.325,-30.95,-2.155), (-30.25,-2.325,-30.08,-2.155), (-29.46,-2.325,-29.29,-2.155), (-28.54,-2.325,-28.37,-2.155), (-27.75,-2.325,-27.58,-2.155), (-26.52,-2.325,-26.35,-2.155), (-25.73,-2.325,-25.56,-2.155), (-24.8,-2.325,-24.63,-2.155), (-24.01,-2.325,-23.84,-2.155), (-26.115,-1.755,-25.945,-1.585), (-29.035,-1.745,-28.865,-1.575), (-34.055,-1.735,-33.885,-1.565), (-31.535,-1.735,-31.365,-1.565), (-33.35,-1.065,-33.18,-0.895), (-32.56,-1.065,-32.39,-0.895), (-31.91,-1.065,-31.74,-0.895), (-31.12,-1.065,-30.95,-0.895), (-30.25,-1.065,-30.08,-0.895), (-29.46,-1.065,-29.29,-0.895), (-28.54,-1.065,-28.37,-0.895), (-27.75,-1.065,-27.58,-0.895), (-26.52,-1.065,-26.35,-0.895), (-25.73,-1.065,-25.56,-0.895), (-24.8,-1.065,-24.63,-0.895), (-24.01,-1.065,-23.84,-0.895), (-27.165,-0.965,-26.995,-0.795), (-33.35,-0.705,-33.18,-0.535), (-32.56,-0.705,-32.39,-0.535), (-31.91,-0.705,-31.74,-0.535), (-31.12,-0.705,-30.95,-0.535), (-30.25,-0.705,-30.08,-0.535), (-29.46,-0.705,-29.29,-0.535), (-28.54,-0.705,-28.37,-0.535), (-27.75,-0.705,-27.58,-0.535), (-26.52,-0.705,-26.35,-0.535), (-25.73,-0.705,-25.56,-0.535), (-24.8,-0.705,-24.63,-0.535), (-24.01,-0.705,-23.84,-0.535), (-37.555,-0.15,-37.385,0.02), (-36.825,-0.15,-36.655,0.02), (-36.105,-0.12,-35.935,0.05), (-35.335,-0.12,-35.165,0.05)])
R(switch2n_3v3, met1, [(-28.67,-3.48,-28.27,-3.355), (-33.78,-3.42,-30.6,-2.72), (-28.67,-3.355,-22.815,-3.145), (-28.67,-3.145,-28.27,-3.02), (-37.65,-2.95,-37.29,-2.46), (-36.92,-2.95,-36.56,-2.46), (-36.2,-2.92,-35.84,-2.43), (-35.43,-2.92,-35.07,-2.65), (-26.93,-2.9,-23.81,-2.68), (-30.28,-2.87,-27.12,-2.65), (-33.405,-2.72,-33.155,-2.49), (-31.95,-2.72,-31.7,-2.3), (-26.93,-2.68,-26.71,-1.69), (-24.03,-2.68,-23.81,-2.49), (-35.43,-2.65,-34.49,-2.43), (-30.28,-2.65,-30.06,-2.49), (-27.34,-2.65,-27.12,-1.69), (-33.405,-2.49,-33.15,-2.345), (-32.59,-2.49,-32.36,-1.99), (-31.15,-2.49,-30.92,-1.99), (-30.28,-2.49,-30.05,-2.33), (-29.49,-2.49,-29.26,-1.99), (-28.57,-2.49,-28.34,-1.99), (-27.78,-2.49,-27.55,-2.34), (-26.55,-2.49,-26.32,-2.31), (-25.76,-2.49,-25.53,-1.99), (-24.83,-2.49,-24.6,-1.99), (-24.04,-2.49,-23.81,-1.99), (-36.86,-2.46,-36.64,-1.29), (-36.14,-2.43,-35.92,-1.82), (-34.71,-2.43,-34.49,-2.31), (-33.38,-2.345,-33.15,-1.99), (-27.82,-2.34,-27.5,-2.08), (-34.19,-2.33,-33.87,-2.31), (-30.33,-2.33,-30.01,-2.07), (-34.71,-2.31,-33.87,-2.09), (-26.57,-2.31,-26.31,-1.99), (-31.94,-2.3,-31.71,-1.99), (-34.19,-2.09,-33.87,-2.07), (-27.78,-2.08,-27.55,-1.99), (-30.28,-2.07,-30.05,-1.99), (-32.56,-1.99,-32.36,-1.83), (-31.135,-1.99,-30.94,-1.3), (-29.475,-1.99,-29.28,-1.3), (-28.56,-1.99,-28.365,-1.3), (-25.735,-1.99,-25.54,-1.3), (-24.81,-1.99,-24.615,-1.3), (-34.175,-1.885,-33.76,-1.78), (-29.125,-1.865,-28.775,-1.835), (-26.24,-1.85,-25.88,-1.49), (-24.06,-1.84,-23.8,-1.52), (-29.125,-1.835,-28.745,-1.485), (-32.56,-1.83,-31.3,-1.47), (-36.14,-1.82,-35.14,-1.6), (-34.66,-1.78,-33.76,-1.505), (-27.75,-1.69,-27.12,-1.47), (-26.93,-1.69,-26.39,-1.47), (-35.36,-1.6,-35.14,-1.33), (-24.04,-1.52,-23.82,-1.3), (-34.175,-1.505,-33.76,-1.41), (-29.125,-1.485,-28.775,-1.455), (-32.56,-1.47,-32.39,-1.3), (-27.75,-1.47,-27.53,-1.3), (-26.61,-1.47,-26.39,-1.3), (-35.41,-1.33,-35.09,-1.07), (-33.38,-1.3,-33.15,-0.3), (-32.59,-1.3,-32.36,-0.3), (-31.94,-1.3,-31.71,-0.3), (-31.15,-1.3,-30.92,-0.54), (-30.28,-1.3,-30.05,-1.1), (-29.49,-1.3,-29.26,-1.15), (-28.57,-1.3,-28.34,-1.15), (-27.78,-1.3,-27.53,-1.1), (-26.61,-1.3,-26.32,-0.32), (-25.76,-1.3,-25.53,-1.15), (-24.83,-1.3,-24.6,-1.15), (-24.04,-1.3,-23.81,-0.845), (-36.86,-1.29,-35.9,-1.07), (-30.755,-1.275,-30.435,-1.1), (-29.49,-1.15,-28.34,-0.52), (-25.76,-1.15,-24.6,-0.6), (-27.335,-1.105,-26.825,-0.655), (-30.76,-1.1,-30.05,-0.89), (-27.78,-1.1,-27.55,-0.3), (-36.12,-1.07,-35.9,-0.87), (-35.36,-1.07,-35.14,-0.28), (-30.41,-0.89,-30.05,-0.88), (-30.28,-0.88,-30.05,-0.3), (-36.17,-0.87,-35.85,-0.61), (-24.09,-0.845,-23.77,-0.585), (-27.19,-0.655,-26.965,0.015), (-36.12,-0.61,-35.9,-0.28), (-25.76,-0.6,-25.53,-0.3), (-24.83,-0.6,-24.6,-0.3), (-24.04,-0.585,-23.81,-0.3), (-31.15,-0.54,-30.47,-0.315), (-29.49,-0.52,-29.26,-0.3), (-28.57,-0.52,-28.34,-0.3), (-37.58,-0.51,-37.36,-0.31), (-26.61,-0.32,-26.265,-0.06), (-31.15,-0.315,-30.92,-0.3), (-30.695,-0.315,-30.47,0.015), (-37.65,-0.31,-37.29,0.18), (-36.92,-0.31,-36.56,-0.13), (-33.365,-0.3,-33.16,0.03), (-31.935,-0.3,-31.725,0.03), (-24.81,-0.3,-24.615,0.2), (-36.2,-0.28,-35.84,0.21), (-35.43,-0.28,-35.07,0.21), (-36.99,-0.13,-36.56,0.15), (-26.61,-0.06,-26.32,-0.02), (-26.53,-0.02,-26.32,-0.015), (-30.695,0.015,-26.965,0.24), (-33.66,0.03,-31,0.73), (-36.92,0.15,-36.56,0.18), (-24.81,0.2,-22.845,0.395)])
A(switch2n_3v3, via, -33.545, -3.2, 0.15, 0.15, 9, 1, 0.32, 0)
A(switch2n_3v3, via, -33.355, 0.31, 0.15, 0.15, 7, 1, 0.32, 0)
R(switch2n_3v3, via, [(-27.735,-2.285,-27.585,-2.135), (-34.105,-2.275,-33.955,-2.125), (-30.245,-2.275,-30.095,-2.125), (-26.515,-2.225,-26.365,-2.075), (-24.005,-1.755,-23.855,-1.605), (-26.135,-1.745,-25.985,-1.595), (-28.995,-1.735,-28.845,-1.585), (-31.555,-1.725,-31.405,-1.575), (-34.57,-1.72,-34.42,-1.57), (-35.325,-1.275,-35.175,-1.125), (-30.67,-1.22,-30.52,-1.07), (-36.085,-0.815,-35.935,-0.665), (-24.005,-0.79,-23.855,-0.64), (-26.5,-0.265,-26.35,-0.115), (-36.835,-0.065,-36.685,0.085), (-37.545,-0.045,-37.395,0.105)])
R(switch2n_3v3, met2, [(-33.78,-3.42,-30.6,-2.72), (-26.56,-2.48,-26.34,-2.28), (-27.79,-2.37,-27.53,-2.36), (-34.16,-2.36,-33.9,-2.31), (-30.3,-2.36,-30.04,-2.31), (-27.855,-2.36,-27.465,-2.06), (-37.45,-2.31,-30.04,-2.09), (-26.6,-2.28,-26.28,-2.26), (-26.6,-2.26,-23.83,-2.04), (-34.16,-2.09,-33.9,-2.04), (-30.3,-2.09,-30.04,-2.04), (-27.79,-2.06,-27.53,-2.05), (-26.6,-2.04,-26.28,-2.02), (-24.05,-2.04,-23.83,-1.81), (-26.56,-2.02,-26.32,-2), (-29.065,-1.865,-28.775,-1.805), (-26.21,-1.85,-25.91,-1.82), (-31.63,-1.83,-31.33,-1.8), (-26.21,-1.82,-25.86,-1.805), (-34.63,-1.81,-34.355,-1.78), (-24.09,-1.81,-23.77,-1.55), (-29.065,-1.805,-25.86,-1.8), (-31.63,-1.8,-25.86,-1.52), (-37.455,-1.78,-34.355,-1.505), (-31.63,-1.52,-25.91,-1.515), (-31.63,-1.515,-28.775,-1.5), (-26.21,-1.515,-25.91,-1.49), (-34.63,-1.505,-34.355,-1.475), (-31.63,-1.5,-31.33,-1.47), (-29.065,-1.5,-28.775,-1.455), (-35.38,-1.36,-35.12,-1.31), (-30.75,-1.345,-30.45,-1.235), (-35.38,-1.31,-34.19,-1.295), (-35.38,-1.295,-32.235,-1.235), (-35.38,-1.235,-30.445,-1.125), (-35.38,-1.125,-34.19,-1.09), (-32.405,-1.125,-30.445,-1.065), (-35.38,-1.09,-35.12,-1.04), (-30.75,-1.065,-30.45,-0.955), (-36.14,-0.9,-35.88,-0.85), (-24.06,-0.875,-23.8,-0.825), (-36.14,-0.85,-33.2,-0.78), (-26.145,-0.825,-23.8,-0.78), (-36.14,-0.78,-23.8,-0.63), (-36.14,-0.63,-35.88,-0.58), (-33.42,-0.63,-23.8,-0.605), (-33.42,-0.605,-26.145,-0.56), (-24.06,-0.605,-23.8,-0.555), (-35.8,-0.4,-34.06,-0.38), (-35.8,-0.38,-26.265,-0.16), (-36.9,-0.16,-36.62,-0.13), (-35.8,-0.16,-34.06,-0.13), (-26.605,-0.16,-26.265,-0.02), (-37.6,-0.13,-34.06,-0.12), (-37.6,-0.12,-35.52,0.15), (-33.66,0.03,-31,0.73), (-37.6,0.15,-37.34,0.19), (-36.9,0.15,-36.62,0.18)])
A(switch2n_3v3, via2, -33.49, -3.225, 0.2, 0.2, 7, 1, 0.4, 0)
A(switch2n_3v3, via2, -33.42, 0.285, 0.2, 0.2, 6, 1, 0.4, 0)
R(switch2n_3v3, via2, [(-27.76,-2.31,-27.56,-2.11), (-30.7,-1.25,-30.5,-1.05)])
R(switch2n_3v3, met3_5, [(-37.91,-3.42,-37.76,-2.72), (-37.91,0.03,-37.76,0.73)])
R(switch2n_3v3, met3, [(-37.91,-3.42,-23.575,-2.72), (-27.835,-2.385,-27.485,-2.36), (-30.75,-2.36,-27.485,-2.06), (-30.75,-2.06,-30.45,-1.325), (-27.835,-2.06,-27.485,-2.035), (-30.775,-1.325,-30.425,-0.975), (-37.91,0.03,-23.535,0.73)])
R(switch2n_3v3, hvi, [(-37.865,-3.135,-36.345,-3.105), (-37.865,-3.105,-34.855,0.365), (-33.595,-2.675,-23.595,-1.63), (-33.76,-1.63,-23.36,-0.32), (-34,-0.32,-23.36,0.04), (-34,0.04,-30.67,1.07), (-36.415,0.365,-34.855,0.395)])
R(switch2n_3v3, nsdm, [(-37.805,-3.075,-36.405,-3.045), (-37.805,-3.045,-34.915,0.305), (-33.535,-2.615,-29.105,-1.865), (-28.725,-2.615,-27.395,-1.865), (-26.705,-2.615,-25.375,-1.865), (-24.985,-2.615,-23.655,-1.865), (-33.785,-0.095,-30.875,0.855), (-36.355,0.305,-34.915,0.335)])
R(switch2n_3v3, psdm, [(-33.905,-3.545,-30.48,-2.655), (-33.535,-1.425,-29.105,-0.175), (-28.725,-1.425,-27.395,-0.175), (-26.705,-1.425,-25.375,-0.175), (-24.985,-1.425,-23.655,-0.175)])
R(switch2n_3v3, npc, [(-26.215,-1.855,-25.845,-1.485), (-25.355,-1.855,-24.985,-1.485), (-29.135,-1.845,-28.765,-1.475), (-34.155,-1.835,-33.785,-1.465), (-31.635,-1.835,-31.265,-1.465), (-27.265,-1.795,-26.895,-1.425)])
R(switch2n_3v3, hvntm, [(-37.865,-3.135,-36.345,-3.105), (-37.865,-3.105,-34.855,0.365), (-33.595,-2.675,-23.595,-1.805), (-36.415,0.365,-34.855,0.395)])
switch2n_3v3.add(gdstk.Label('VOUTH', (-22.94,0.31), layer=68, texttype=5))
switch2n_3v3.add(gdstk.Label('VOUTL', (-23.01,-3.26), layer=68, texttype=5))
switch2n_3v3.add(gdstk.Label('R_L', (-34.13,-1.21), layer=69, texttype=5))
switch2n_3v3.add(gdstk.Label('DX_BUF', (-27.09,0.13), layer=68, texttype=5))
switch2n_3v3.add(gdstk.Label('R_H', (-34.07,-0.74), layer=69, texttype=5))
switch2n_3v3.add(gdstk.Label('DX', (-37.28,-1.63), layer=69, texttype=5))
switch2n_3v3.add(gdstk.Label('VREFL', (-37.33,-2.2), layer=69, texttype=5))
switch2n_3v3.add(gdstk.Label('VREFH', (-37.23,-0.01), layer=69, texttype=5))
switch2n_3v3.add(gdstk.Label('VSS', (-37.835,-3.07), layer=70, texttype=5))
switch2n_3v3.add(gdstk.Label('VCC', (-37.835,0.38), layer=70, texttype=5))

c_2_bit_dac = lib.new_cell('2_bit_dac')
R(c_2_bit_dac, li1, [(10.58,-0.305,10.85,2.24)])
R(c_2_bit_dac, mcon, [(10.63,-0.255,10.8,-0.085)])
R(c_2_bit_dac, met1, [(14.745,-0.72,22.685,-0.51), (14.745,-0.51,14.955,0.465), (22.475,-0.51,22.685,1.47), (10.55,-0.365,10.88,-0.305), (-1.27,-0.305,10.88,-0.035), (10.55,-0.035,10.88,0.025), (-0.74,0.73,-0.46,0.76), (-0.74,0.76,0.41,1.04), (-0.74,1.04,-0.46,1.07), (-0.77,1.26,-0.435,1.535), (-0.74,1.535,-0.465,2.99), (21.71,3.085,21.905,4.795), (14.73,3.81,14.925,4.795), (21.06,4.36,21.38,4.39), (20.16,4.39,21.38,4.585), (21.06,4.585,21.38,4.62), (14.73,4.795,21.905,4.99)])
R(c_2_bit_dac, via, [(-1.18,-0.245,-1.03,-0.095), (-0.675,0.825,-0.525,0.975), (-0.68,1.32,-0.53,1.47), (-0.68,2.745,-0.53,2.895), (21.145,4.415,21.295,4.565)])
R(c_2_bit_dac, met2, [(-1.245,-0.91,-0.97,-0.305), (-0.74,-0.91,-0.465,-0.1), (15.19,-0.91,15.395,-0.335), (-1.26,-0.305,-0.97,-0.005), (-0.74,-0.1,-0.46,0.76), (-1.26,-0.005,-0.985,0.94), (-0.77,0.76,-0.43,1.04), (-0.74,1.23,-0.465,1.26), (-0.74,1.26,0.465,1.535), (-0.74,1.535,-0.465,1.565), (-1.26,1.83,0.685,2.105), (-1.26,2.105,-0.985,5.23), (-0.77,2.685,-0.435,2.96), (-0.74,2.96,-0.465,5.23), (21.09,4.33,21.35,4.395), (21.09,4.395,22.745,4.59), (15.19,4.55,15.395,5.23), (21.09,4.59,21.35,4.65)])
R(c_2_bit_dac, met3, [(-2.04,0.19,0.56,0.89), (13.58,0.19,15.23,0.89), (-2.04,3.64,0.59,4.34), (13.76,3.64,15.23,4.34)])
c_2_bit_dac.add(gdstk.Reference(switch_n_3v3_v2, (47.6,3.61)))
c_2_bit_dac.add(gdstk.Reference(switch2n_3v3, (37.77,3.61)))
c_2_bit_dac.add(gdstk.Label('VCC', (-1.89,4.045), layer=70, texttype=5))
c_2_bit_dac.add(gdstk.Label('VSS', (-1.8,0.52), layer=70, texttype=5))
c_2_bit_dac.add(gdstk.Label('D0', (-1.155,5.02), layer=69, texttype=5))
c_2_bit_dac.add(gdstk.Label('VREFL', (-0.6,5.02), layer=69, texttype=5))
c_2_bit_dac.add(gdstk.Label('D0_BUF', (-1.125,-0.73), layer=69, texttype=5))
c_2_bit_dac.add(gdstk.Label('VREFH', (-0.585,-0.815), layer=69, texttype=5))
c_2_bit_dac.add(gdstk.Label('VOUT', (22.65,4.475), layer=69, texttype=5))
c_2_bit_dac.add(gdstk.Label('D1_BUF', (15.3,-0.82), layer=69, texttype=5))
c_2_bit_dac.add(gdstk.Label('D1', (15.29,5.11), layer=69, texttype=5))

c_3_bit_dac = lib.new_cell('3_bit_dac')
R(c_3_bit_dac, met1, [(24.585,5.835,24.845,5.925), (24.585,5.925,31.28,6.065), (24.585,6.065,24.845,6.155), (31.14,6.065,31.28,6.88), (24.965,6.715,25.285,6.745), (24.965,6.745,27.27,6.94), (31.14,6.88,34.09,7.02), (24.965,6.94,25.285,6.975), (24.965,8.985,25.285,9.015), (24.965,9.015,27.415,9.21), (24.965,9.21,25.285,9.245), (33.72,11.41,34.04,11.44), (31.99,11.44,34.04,11.635), (34.335,11.465,34.485,11.875), (33.72,11.635,34.04,11.67), (24.555,11.79,24.815,11.875), (24.555,11.875,34.485,12.025), (24.555,12.025,24.815,12.11)])
R(c_3_bit_dac, via, [(24.64,5.92,24.79,6.07), (25.05,6.77,25.2,6.92), (25.05,9.04,25.2,9.19), (33.805,11.465,33.955,11.615), (24.61,11.875,24.76,12.025)])
R(c_3_bit_dac, met2, [(0.795,0,1.07,0.455), (1.3,0,1.575,0.455), (17.23,0,17.435,0.58), (0.13,1.225,0.47,7.835), (-0.38,4.755,-0.04,11.215), (24.645,5.305,24.785,5.865), (24.555,5.865,24.875,6.125), (25.02,6.36,25.225,6.685), (24.995,6.685,25.255,7.005), (25.02,7.005,25.225,7.155), (26.22,8.12,26.425,8.965), (25.42,8.155,25.625,8.935), (27.02,8.2,27.225,8.965), (25.82,8.21,26.025,8.98), (26.62,8.25,26.825,8.965), (24.995,8.955,25.255,9.275), (33.75,11.38,34.01,11.445), (24.59,11.445,24.785,11.82), (33.75,11.445,35.145,11.64), (17.23,11.53,17.435,12.28), (25.02,11.575,25.225,12.28), (26.62,11.575,26.825,12.28), (1.3,11.635,1.575,12.28), (25.82,11.64,26.025,12.28), (26.22,11.64,26.425,12.28), (27.02,11.64,27.225,12.28), (33.75,11.64,34.01,11.7), (0.78,11.665,1.055,12.28), (24.525,11.82,24.845,12.08)])
R(c_3_bit_dac, via2, [(0.2,1.34,0.4,1.54), (-0.31,4.87,-0.11,5.07), (0.2,7.52,0.4,7.72), (-0.31,10.9,-0.11,11.1)])
R(c_3_bit_dac, met3, [(-0.59,1.1,0.92,1.8), (-0.59,4.55,0.93,5.25), (-0.59,7.24,0.98,7.94), (-0.59,10.69,0.7,11.39)])
c_3_bit_dac.add(gdstk.Reference(switch_n_3v3, (59.43,10.66)))
r = gdstk.Reference(c_2_bit_dac, (2.04,0.91)); r.repetition = gdstk.Repetition(1, 2, v1=(25.03,0), v2=(0,6.14)); c_3_bit_dac.add(r)
c_3_bit_dac.add(gdstk.Label('VCC', (-0.5,11.17), layer=70, texttype=5))
c_3_bit_dac.add(gdstk.Label('VSS', (-0.46,7.61), layer=70, texttype=5))
c_3_bit_dac.add(gdstk.Label('D0', (0.92,12.15), layer=69, texttype=5))
c_3_bit_dac.add(gdstk.Label('VREFL', (1.44,12.16), layer=69, texttype=5))
c_3_bit_dac.add(gdstk.Label('D0_BUF', (0.93,0.1), layer=69, texttype=5))
c_3_bit_dac.add(gdstk.Label('VREFH', (1.41,0.06), layer=69, texttype=5))
c_3_bit_dac.add(gdstk.Label('D1', (17.34,12.25), layer=69, texttype=5))
c_3_bit_dac.add(gdstk.Label('D1_BUF', (17.34,0.06), layer=69, texttype=5))
c_3_bit_dac.add(gdstk.Label('D2', (25.115,12.18), layer=69, texttype=5))
c_3_bit_dac.add(gdstk.Label('D2_BUF', (25.115,6.45), layer=69, texttype=5))
c_3_bit_dac.add(gdstk.Label('VOUT', (35.105,11.55), layer=69, texttype=5))

lib.write_gds('3_bit_dac.gds')
